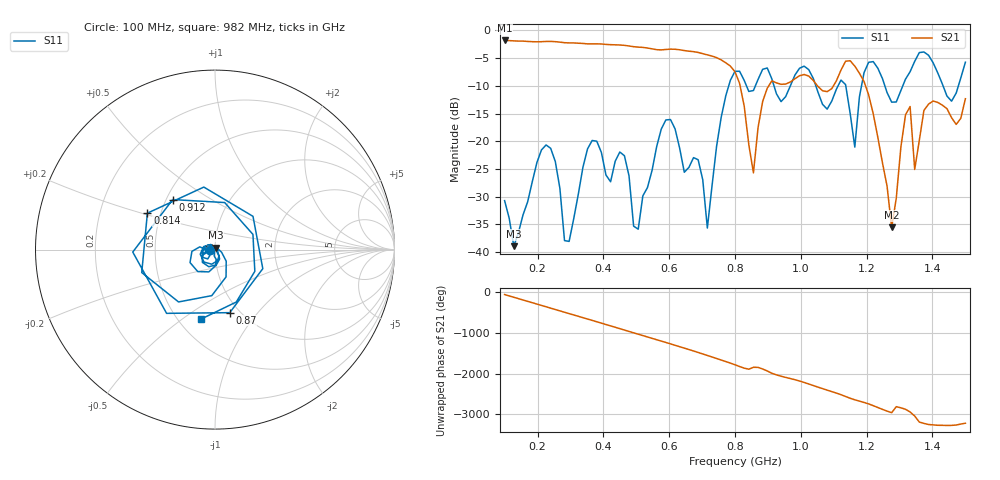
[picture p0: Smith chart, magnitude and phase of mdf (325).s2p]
! NanoVNA-App
! Date: 2025-09-25 15:40:57
! Start: 100MHz Stop: 1,5GHz Points: 101
! S-Parameter data: F S11 S21 S12 S22
# Hz S RI R 50
!  Frequency  S11_Real  S11_Imag  S21_Real  S21_Imag  S12_Real  S12_Imag  S22_Real  S22_Imag
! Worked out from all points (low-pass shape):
!   101 points, 100 MHz to 1.5 GHz, reference 50 ohm
!   highest |S21| = -1.80 dB at 100 MHz (marker M1); lowest = -35.6 dB at 1.276 GHz (marker M2)
!   |S21| within 3 dB of the highest: start of sweep to 739 MHz
!   lowest |S11| = -39.0 dB at 128 MHz (marker M3), VSWR 1.02, Z = 50.3 + j1.08 ohm
!   |S11| at or under -10 dB: start of sweep to 781 MHz; 918.5 MHz to 968.2 MHz (49.74 MHz wide, 5.27 % of centre); 1.046 GHz to 1.113 GHz (67.67 MHz wide, 6.27 % of centre) (the widest 3 of 7)
!   S12 and S22 are empty: the file has one direction only
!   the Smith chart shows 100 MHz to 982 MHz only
!   S11 on the Smith chart (normalised r, x): 100 MHz: 0.94, -0.01; 814 MHz: 0.42, +0.21; 870 MHz: 0.90, -0.73; 912 MHz: 0.54, +0.35; 982 MHz: 0.64, -0.59
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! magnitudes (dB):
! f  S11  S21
! 100 MHz  -30.7  -1.8
! 128 MHz  -39.0  -1.9
! 212 MHz  -21.6  -2.0
! 282 MHz  -38.0  -2.2
! 338 MHz  -24.7  -2.3
! 464 MHz  -22.6  -2.7
! 506 MHz  -35.9  -3.0
! 576 MHz  -17.8  -3.5
! 716 MHz  -35.7  -4.4
! 800 MHz  -7.4  -7.5
! 814 MHz  -7.4  -9.6
! 856 MHz  -10.9  -25.7
! 870 MHz  -8.9  -17.6
! 912 MHz  -8.8  -9.1
! 982 MHz  -8.1  -8.7
! 1.038 GHz  -8.7  -9.0
! 1.164 GHz  -21.1  -6.4
! 1.192 GHz  -7.6  -9.2
! 1.276 GHz  -13.0  -35.6
! 1.332 GHz  -7.4  -13.7
! 1.346 GHz  -5.6  -25.1
! 1.5 GHz  -5.7  -12.3
